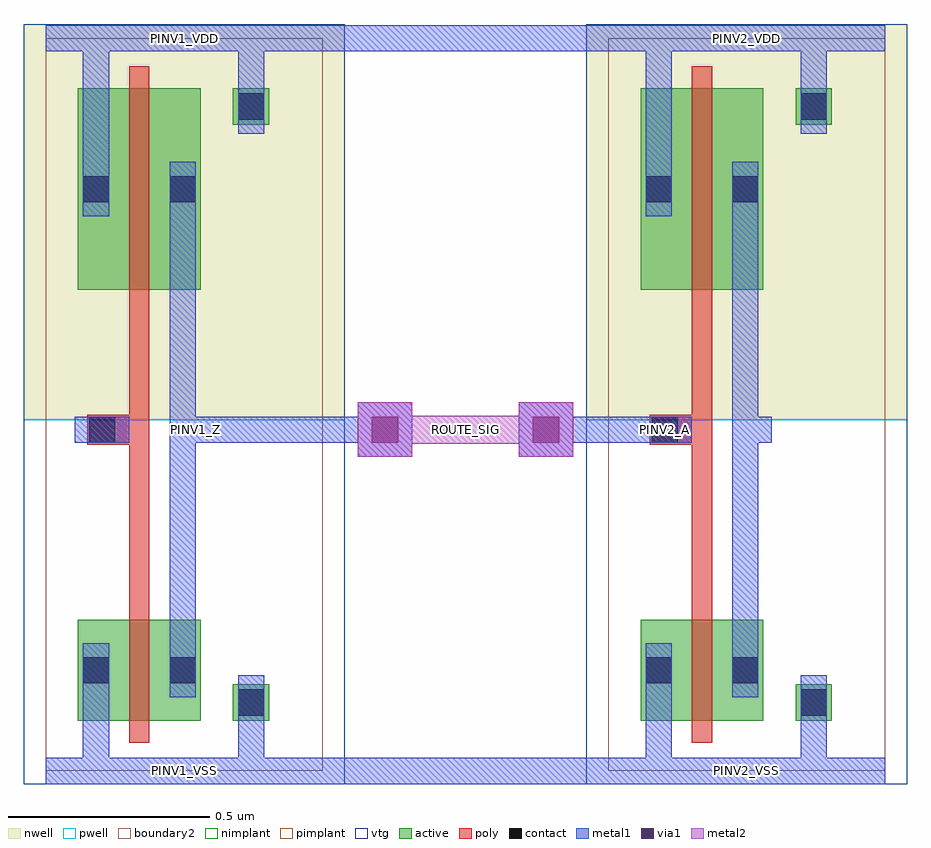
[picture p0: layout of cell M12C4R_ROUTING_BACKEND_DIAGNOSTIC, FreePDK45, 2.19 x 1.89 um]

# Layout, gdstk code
import gdstk
lib = gdstk.Library(unit=1e-6, precision=5e-10)
def R(c, l, rs):  # rectangles x0, y0, x1, y1
    for r in rs: c.add(gdstk.rectangle(r[:2], r[2:], *l))
active = (1, 0)
pwell = (2, 0)
nwell = (3, 0)
nimplant = (4, 0)
pimplant = (5, 0)
vtg = (6, 0)
poly = (9, 0)
contact = (10, 0)
metal1 = (11, 0)
via1 = (12, 0)
metal2 = (13, 0)
boundary2 = (239, 0)

transmission_gate_nw250_ = lib.new_cell('TRANSMISSION_GATE_NW250_PW500_L50_contact_8')
R(transmission_gate_nw250_, active, [(0,0.0225,0.09,0.1125)])
R(transmission_gate_nw250_, nwell, [(-0.055,-0.0325,0.145,0.1675)])
R(transmission_gate_nw250_, pimplant, [(0,0.0225,0.09,0.1125)])
R(transmission_gate_nw250_, contact, [(0.0125,0.035,0.0775,0.1)])
R(transmission_gate_nw250_, metal1, [(0.0125,0,0.0775,0.135)])
R(transmission_gate_nw250_, boundary2, [(-0.055,-0.0325,0.145,0.1675)])

pinv_nw250_pw500_l50_pmo = lib.new_cell('PINV_NW250_PW500_L50_pmos_m1_w0_500_sm1_dm1_da_p')
R(pinv_nw250_pw500_l50_pmo, active, [(0,0,0.305,0.5)])
R(pinv_nw250_pw500_l50_pmo, nwell, [(-0.08,-0.08,0.385,0.58)])
R(pinv_nw250_pw500_l50_pmo, pimplant, [(0,0,0.305,0.5)])
R(pinv_nw250_pw500_l50_pmo, vtg, [(-0.08,-0.08,0.385,0.58)])
R(pinv_nw250_pw500_l50_pmo, poly, [(0.1275,-0.055,0.1775,0.555), (0.1275,-0.055,0.1775,0.555)])
R(pinv_nw250_pw500_l50_pmo, metal1, [(0.0125,0.1825,0.0775,0.3175), (0.2275,0.1825,0.2925,0.3175)])
R(pinv_nw250_pw500_l50_pmo, boundary2, [(-0.08,-0.08,0.385,0.58)])
pinv_nw250_pw500_l50_pmo.add(gdstk.Reference(transmission_gate_nw250_, (0,0.1825)))
pinv_nw250_pw500_l50_pmo.add(gdstk.Reference(transmission_gate_nw250_, (0.215,0.1825)))

c_transmission_gate_nw250_ = lib.new_cell('TRANSMISSION_GATE_NW250_PW500_L50_contact_7')
R(c_transmission_gate_nw250_, active, [(0,0.0225,0.09,0.1125)])
R(c_transmission_gate_nw250_, pwell, [(-0.055,-0.0325,0.145,0.1675)])
R(c_transmission_gate_nw250_, nimplant, [(0,0.0225,0.09,0.1125)])
R(c_transmission_gate_nw250_, contact, [(0.0125,0.035,0.0775,0.1)])
R(c_transmission_gate_nw250_, metal1, [(0.0125,0,0.0775,0.135)])
R(c_transmission_gate_nw250_, boundary2, [(-0.055,-0.0325,0.145,0.1675)])

pinv_nw250_pw500_l50_nmo = lib.new_cell('PINV_NW250_PW500_L50_nmos_m1_w0_250_sm1_dm1_da_p')
R(pinv_nw250_pw500_l50_nmo, active, [(0,0,0.305,0.25)])
R(pinv_nw250_pw500_l50_nmo, pwell, [(-0.08,-0.08,0.385,0.33)])
R(pinv_nw250_pw500_l50_nmo, nimplant, [(0,0,0.305,0.25)])
R(pinv_nw250_pw500_l50_nmo, vtg, [(-0.08,-0.08,0.385,0.33)])
R(pinv_nw250_pw500_l50_nmo, poly, [(0.1275,-0.055,0.1775,0.305), (0.1275,-0.055,0.1775,0.305)])
R(pinv_nw250_pw500_l50_nmo, metal1, [(0.0125,0.0575,0.0775,0.1925), (0.2275,0.0575,0.2925,0.1925)])
R(pinv_nw250_pw500_l50_nmo, boundary2, [(-0.08,-0.08,0.385,0.33)])
pinv_nw250_pw500_l50_nmo.add(gdstk.Reference(c_transmission_gate_nw250_, (0,0.0575)))
pinv_nw250_pw500_l50_nmo.add(gdstk.Reference(c_transmission_gate_nw250_, (0.215,0.0575)))

c_transmission_gate_nw250__ = lib.new_cell('TRANSMISSION_GATE_NW250_PW500_L50_contact_9')
R(c_transmission_gate_nw250__, active, [(0,0.0225,0.09,0.1125)])
R(c_transmission_gate_nw250__, nwell, [(-0.055,-0.0325,0.145,0.1675)])
R(c_transmission_gate_nw250__, nimplant, [(0,0.0225,0.09,0.1125)])
R(c_transmission_gate_nw250__, contact, [(0.0125,0.035,0.0775,0.1)])
R(c_transmission_gate_nw250__, metal1, [(0.0125,0,0.0775,0.135)])
R(c_transmission_gate_nw250__, boundary2, [(-0.055,-0.0325,0.145,0.1675)])

c_transmission_gate_nw250___ = lib.new_cell('TRANSMISSION_GATE_NW250_PW500_L50_contact_10')
R(c_transmission_gate_nw250___, active, [(0,0.0225,0.09,0.1125)])
R(c_transmission_gate_nw250___, pwell, [(-0.055,-0.0325,0.145,0.1675)])
R(c_transmission_gate_nw250___, pimplant, [(0,0.0225,0.09,0.1125)])
R(c_transmission_gate_nw250___, contact, [(0.0125,0.035,0.0775,0.1)])
R(c_transmission_gate_nw250___, metal1, [(0.0125,0,0.0775,0.135)])
R(c_transmission_gate_nw250___, boundary2, [(-0.055,-0.0325,0.145,0.1675)])

pinv_nw180_pw270_l50_con = lib.new_cell('PINV_NW180_PW270_L50_contact_11')
R(pinv_nw180_pw270_l50_con, poly, [(0.03,0,0.105,0.075)])
R(pinv_nw180_pw270_l50_con, contact, [(0.035,0.005,0.1,0.07)])
R(pinv_nw180_pw270_l50_con, metal1, [(0,0.005,0.135,0.07)])
R(pinv_nw180_pw270_l50_con, boundary2, [(0,0,0.135,0.075)])

pinv_nw250_pw500_l50_cor = lib.new_cell('PINV_NW250_PW500_L50_core')
R(pinv_nw250_pw500_l50_cor, pwell, [(-0.055,-0.0325,0.7425,0.8725)])
R(pinv_nw250_pw500_l50_cor, nwell, [(-0.055,0.8725,0.7425,1.855)])
R(pinv_nw250_pw500_l50_cor, vtg, [(-0.055,-0.0325,0.7425,0.8725), (-0.055,0.8725,0.7425,1.855)])
R(pinv_nw250_pw500_l50_cor, poly, [(0.2075,0.43,0.2575,1.14), (0.14,0.81,0.2075,0.885)])
R(pinv_nw250_pw500_l50_cor, metal1, [(0,-0.0325,0.6875,0.0325), (0.0925,-0.0325,0.1575,0.1825), (0.4775,0,0.5425,0.17), (0.3075,0.1825,0.3725,1.5125), (0.0725,0.815,0.2075,0.88), (0.34,0.815,0.405,0.88), (0.0925,1.3775,0.1575,1.8525), (0.4775,1.65,0.5425,1.82), (0,1.7875,0.6875,1.8525)])
R(pinv_nw250_pw500_l50_cor, boundary2, [(0,0,0.6875,1.82), (0,0,0.6875,1.82)])
pinv_nw250_pw500_l50_cor.add(gdstk.Reference(pinv_nw250_pw500_l50_pmo, (0.08,1.195)))
pinv_nw250_pw500_l50_cor.add(gdstk.Reference(pinv_nw250_pw500_l50_nmo, (0.08,0.125)))
pinv_nw250_pw500_l50_cor.add(gdstk.Reference(c_transmission_gate_nw250__, (0.465,1.5825)))
pinv_nw250_pw500_l50_cor.add(gdstk.Reference(c_transmission_gate_nw250___, (0.465,0.1025)))
pinv_nw250_pw500_l50_cor.add(gdstk.Reference(pinv_nw180_pw270_l50_con, (0.0725,0.81)))

pinv_nw250_pw500_l50 = lib.new_cell('PINV_NW250_PW500_L50')
R(pinv_nw250_pw500_l50, metal1, [(0,-0.0325,0.6875,0.0325), (0.0725,0.815,0.2075,0.88), (0.34,0.815,0.405,0.88), (0,1.7875,0.6875,1.8525)])
R(pinv_nw250_pw500_l50, boundary2, [(0,0,0.6875,1.82)])
pinv_nw250_pw500_l50.add(gdstk.Reference(pinv_nw250_pw500_l50_cor, (0,0)))
pinv_nw250_pw500_l50.add(gdstk.Label('VDD', (0.3435,1.82), layer=11, texttype=0))
pinv_nw250_pw500_l50.add(gdstk.Label('VSS', (0.3435,0), layer=11, texttype=0))
pinv_nw250_pw500_l50.add(gdstk.Label('A', (0.14,0.8475), layer=11, texttype=0))
pinv_nw250_pw500_l50.add(gdstk.Label('Z', (0.3725,0.8475), layer=11, texttype=0))

m12c4r_routing_backend_d = lib.new_cell('M12C4R_ROUTING_BACKEND_DIAGNOSTIC')
R(m12c4r_routing_backend_d, metal1, [(0.7425,0,1.4525,0.065), (0.83,0.8125,0.965,0.9475), (1.23,0.8125,1.365,0.9475), (0.46,0.8475,0.83,0.9125), (1.365,0.8475,1.525,0.9125), (0.7425,1.82,1.4525,1.885)])
R(m12c4r_routing_backend_d, via1, [(0.865,0.8475,0.93,0.9125), (1.265,0.8475,1.33,0.9125)])
R(m12c4r_routing_backend_d, metal2, [(0.83,0.8125,0.965,0.9475), (1.23,0.8125,1.365,0.9475), (0.8975,0.845,1.2975,0.915)])
m12c4r_routing_backend_d.add(gdstk.Reference(pinv_nw250_pw500_l50, (0.055,0.0325)))
m12c4r_routing_backend_d.add(gdstk.Reference(pinv_nw250_pw500_l50, (1.4525,0.0325)))
m12c4r_routing_backend_d.add(gdstk.Label('PINV1_Z', (0.4275,0.88), layer=11, texttype=0))
m12c4r_routing_backend_d.add(gdstk.Label('PINV2_A', (1.5925,0.88), layer=11, texttype=0))
m12c4r_routing_backend_d.add(gdstk.Label('PINV1_VDD', (0.3985,1.8525), layer=11, texttype=0))
m12c4r_routing_backend_d.add(gdstk.Label('PINV2_VDD', (1.796,1.8525), layer=11, texttype=0))
m12c4r_routing_backend_d.add(gdstk.Label('PINV1_VSS', (0.3985,0.0325), layer=11, texttype=0))
m12c4r_routing_backend_d.add(gdstk.Label('PINV2_VSS', (1.796,0.0325), layer=11, texttype=0))
m12c4r_routing_backend_d.add(gdstk.Label('ROUTE_SIG', (1.0975,0.88), layer=11, texttype=0))

lib.write_gds('M12C4R_ROUTING_BACKEND_DIAGNOSTIC.gds')
